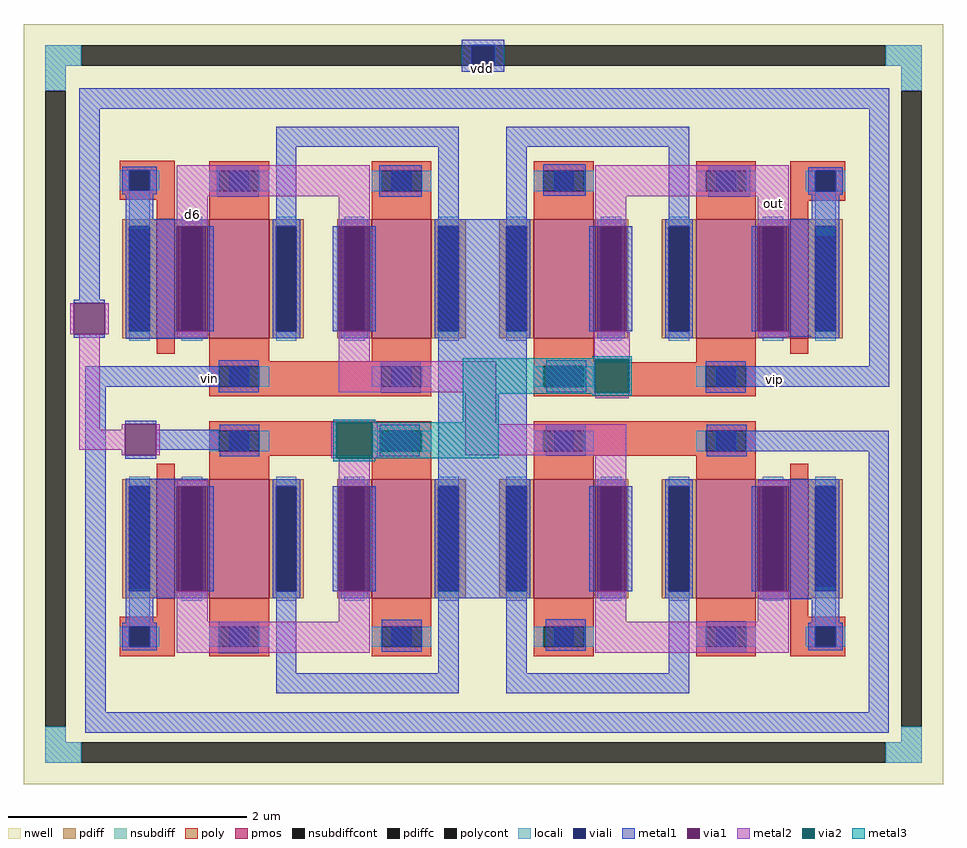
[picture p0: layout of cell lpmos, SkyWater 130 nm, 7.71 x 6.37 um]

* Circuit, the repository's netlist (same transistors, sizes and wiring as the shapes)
* NGSPICE file created from lpmos.ext - technology: sky130A

.subckt sky130_fd_pr__pfet_01v8_V8A8AU a_n86_n318# a_n86_118# a_358_n415# a_300_n318#
+ a_n244_n318# a_n458_n415# a_86_21# w_n552_n418# a_28_n318# a_n358_n318# a_n458_21#
+ a_186_n318# a_300_118# a_n516_n318# a_358_21# a_n186_21# a_28_118# a_458_n318# a_86_n415#
+ a_n186_n415# a_n244_118# a_n516_118# w_n552_18# a_n358_118# a_458_118# a_186_118#
X0 a_458_118# a_358_21# a_300_118# w_n552_18# sky130_fd_pr__pfet_01v8 ad=0.29 pd=2.58 as=0.29 ps=2.58 w=1 l=0.5
X1 a_186_118# a_86_21# a_28_118# w_n552_18# sky130_fd_pr__pfet_01v8 ad=0.29 pd=2.58 as=0.29 ps=2.58 w=1 l=0.5
X2 a_n358_n318# a_n458_n415# a_n516_n318# w_n552_n418# sky130_fd_pr__pfet_01v8 ad=0.29 pd=2.58 as=0.29 ps=2.58 w=1 l=0.5
X3 a_n86_118# a_n186_21# a_n244_118# w_n552_18# sky130_fd_pr__pfet_01v8 ad=0.29 pd=2.58 as=0.29 ps=2.58 w=1 l=0.5
X4 a_458_n318# a_358_n415# a_300_n318# w_n552_n418# sky130_fd_pr__pfet_01v8 ad=0.29 pd=2.58 as=0.29 ps=2.58 w=1 l=0.5
X5 a_186_n318# a_86_n415# a_28_n318# w_n552_n418# sky130_fd_pr__pfet_01v8 ad=0.29 pd=2.58 as=0.29 ps=2.58 w=1 l=0.5
X6 a_n358_118# a_n458_21# a_n516_118# w_n552_18# sky130_fd_pr__pfet_01v8 ad=0.29 pd=2.58 as=0.29 ps=2.58 w=1 l=0.5
X7 a_n86_n318# a_n186_n415# a_n244_n318# w_n552_n418# sky130_fd_pr__pfet_01v8 ad=0.29 pd=2.58 as=0.29 ps=2.58 w=1 l=0.5
.ends

.subckt sky130_fd_pr__pfet_01v8_2XUZHN a_n73_n100# w_n109_n162# a_15_n100# a_n15_n126#
X0 a_15_n100# a_n15_n126# a_n73_n100# w_n109_n162# sky130_fd_pr__pfet_01v8 ad=0.29 pd=2.58 as=0.29 ps=2.58 w=1 l=0.15
.ends

.subckt lpmos d6 vin vip out vdd
Xsky130_fd_pr__pfet_01v8_V8A8AU_0 m1_1936_n33# m1_1936_n33# vin m1_1936_n33# out vip
+ vip vdd m1_1936_n33# m1_1936_n33# vin d6 m1_1936_n33# out vip vin m1_1936_n33# d6
+ vin vip d6 d6 vdd m1_1936_n33# out out sky130_fd_pr__pfet_01v8_V8A8AU
Xsky130_fd_pr__pfet_01v8_2XUZHN_1 out vdd out out sky130_fd_pr__pfet_01v8_2XUZHN
Xsky130_fd_pr__pfet_01v8_2XUZHN_5 d6 vdd d6 d6 sky130_fd_pr__pfet_01v8_2XUZHN
Xsky130_fd_pr__pfet_01v8_2XUZHN_6 out vdd out out sky130_fd_pr__pfet_01v8_2XUZHN
Xsky130_fd_pr__pfet_01v8_2XUZHN_7 d6 vdd d6 d6 sky130_fd_pr__pfet_01v8_2XUZHN
.ends

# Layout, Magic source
magic
tech sky130A
magscale 1 2
<< nwell >>
rect 1513 -185 3054 1089
<< nsubdiff >>
rect 1549 1019 1609 1053
rect 2958 1019 3018 1053
rect 1549 977 1583 1019
rect 2984 977 3018 1019
rect 1549 -115 1583 -89
rect 2984 -115 3018 -89
rect 1549 -149 1609 -115
rect 2958 -149 3018 -115
<< nsubdiffcont >>
rect 1609 1019 2958 1053
rect 1549 -89 1583 977
rect 2984 -89 3018 977
rect 1609 -149 2958 -115
<< poly >>
rect 1674 844 1766 860
rect 1674 810 1690 844
rect 1724 810 1766 844
rect 1674 794 1766 810
rect 1736 785 1766 794
rect 2798 843 2890 859
rect 2798 809 2840 843
rect 2874 809 2890 843
rect 2798 793 2890 809
rect 2798 784 2828 793
rect 1924 465 2096 524
rect 2468 465 2640 522
rect 1924 365 2096 423
rect 2468 365 2640 423
rect 1736 95 1766 104
rect 1674 79 1766 95
rect 1674 45 1690 79
rect 1724 45 1766 79
rect 1674 29 1766 45
rect 2798 95 2828 104
rect 2798 79 2890 95
rect 2798 45 2840 79
rect 2874 45 2890 79
rect 2798 29 2890 45
<< polycont >>
rect 1690 810 1724 844
rect 2840 809 2874 843
rect 1690 45 1724 79
rect 2840 45 2874 79
<< locali >>
rect 1549 1019 1609 1053
rect 2958 1019 3018 1053
rect 1549 977 1583 1019
rect 2984 977 3018 1019
rect 1674 810 1690 844
rect 1724 810 1740 844
rect 1690 746 1724 810
rect 2824 809 2840 843
rect 2874 809 2890 843
rect 2840 734 2874 809
rect 1690 79 1724 141
rect 2840 79 2874 145
rect 1674 45 1690 79
rect 1724 45 1740 79
rect 2824 45 2840 79
rect 2874 45 2890 79
rect 1549 -115 1583 -89
rect 2984 -115 3018 -89
rect 1549 -149 1609 -115
rect 2958 -149 3018 -115
<< viali >>
rect 2264 1019 2302 1053
rect 1690 810 1724 844
rect 2840 809 2874 843
rect 1690 45 1724 79
rect 2840 45 2874 79
<< metal1 >>
rect 2247 1053 2318 1063
rect 2247 1019 2264 1053
rect 2302 1019 2318 1053
rect 2247 1009 2318 1019
rect 1606 947 2964 981
rect 1606 627 1640 947
rect 1936 883 2242 917
rect 1678 844 1736 850
rect 1678 810 1690 844
rect 1724 810 1736 844
rect 1678 804 1736 810
rect 1684 762 1730 804
rect 1836 799 1907 852
rect 1684 750 1821 762
rect 1936 759 1970 883
rect 2109 799 2180 852
rect 2208 762 2242 883
rect 2322 883 2628 917
rect 2322 762 2356 883
rect 2384 801 2455 854
rect 1597 621 1649 627
rect 1597 563 1649 569
rect 1684 574 1769 750
rect 1821 574 1831 750
rect 2031 574 2041 750
rect 2093 574 2103 750
rect 1684 561 1821 574
rect 1840 515 1907 525
rect 1616 481 1907 515
rect 1616 -65 1650 481
rect 1840 472 1907 481
rect 2111 471 2178 524
rect 1683 418 1735 424
rect 1841 409 1908 417
rect 1735 375 1908 409
rect 1683 360 1735 366
rect 1841 364 1908 375
rect 2110 364 2177 417
rect 1684 314 1821 327
rect 1684 138 1769 314
rect 1821 138 1831 314
rect 2031 138 2041 314
rect 2093 138 2103 314
rect 1684 126 1821 138
rect 1684 85 1730 126
rect 1678 79 1736 85
rect 1678 45 1690 79
rect 1724 45 1736 79
rect 1678 39 1736 45
rect 1840 34 1907 87
rect 1936 1 1970 130
rect 2208 126 2356 762
rect 2594 752 2628 883
rect 2660 799 2731 852
rect 2828 843 2886 849
rect 2828 809 2840 843
rect 2874 809 2886 843
rect 2828 803 2886 809
rect 2834 762 2880 803
rect 2743 750 2880 762
rect 2461 574 2471 750
rect 2523 574 2533 750
rect 2733 574 2743 750
rect 2795 574 2880 750
rect 2743 565 2880 574
rect 2389 472 2456 525
rect 2656 515 2723 524
rect 2930 515 2964 947
rect 2656 481 2964 515
rect 2656 471 2723 481
rect 2388 365 2455 418
rect 2658 407 2725 417
rect 2658 373 2963 407
rect 2658 364 2725 373
rect 2743 314 2880 326
rect 2461 138 2471 314
rect 2523 138 2533 314
rect 2733 138 2743 314
rect 2795 138 2880 314
rect 2113 37 2180 90
rect 2208 1 2242 126
rect 1936 -33 2242 1
rect 2322 1 2356 126
rect 2388 38 2455 91
rect 2594 1 2628 132
rect 2743 125 2880 138
rect 2657 35 2724 88
rect 2834 85 2880 125
rect 2828 79 2886 85
rect 2828 45 2840 79
rect 2874 45 2886 79
rect 2828 39 2886 45
rect 2322 -33 2628 1
rect 2929 -65 2963 373
rect 1616 -99 2963 -65
<< via1 >>
rect 1597 569 1649 621
rect 1769 574 1821 750
rect 2041 574 2093 750
rect 1683 366 1735 418
rect 1769 138 1821 314
rect 2041 138 2093 314
rect 2471 574 2523 750
rect 2743 574 2795 750
rect 2471 138 2523 314
rect 2743 138 2795 314
<< metal2 >>
rect 1769 800 2093 852
rect 1769 750 1821 800
rect 1591 569 1597 621
rect 1649 569 1655 621
rect 1606 409 1640 569
rect 1769 564 1821 574
rect 2041 750 2093 800
rect 2041 524 2093 574
rect 2471 800 2795 852
rect 2471 750 2523 800
rect 2471 572 2523 574
rect 2743 750 2795 800
rect 2469 527 2529 572
rect 2743 564 2795 574
rect 2041 472 2305 524
rect 1677 409 1683 418
rect 1606 375 1683 409
rect 1677 366 1683 375
rect 1735 366 1741 418
rect 2028 361 2037 421
rect 2097 361 2106 421
rect 2253 418 2305 472
rect 2469 471 2471 527
rect 2527 471 2529 527
rect 2469 469 2529 471
rect 2471 462 2527 469
rect 2253 366 2523 418
rect 1769 314 1821 324
rect 1769 87 1821 138
rect 2041 314 2093 361
rect 2041 87 2093 138
rect 1769 35 2093 87
rect 2471 314 2523 366
rect 2471 87 2523 138
rect 2743 314 2795 324
rect 2743 87 2795 138
rect 2471 35 2795 87
<< via2 >>
rect 2037 361 2097 421
rect 2471 471 2527 527
<< metal3 >>
rect 2466 529 2532 532
rect 2249 527 2532 529
rect 2249 471 2471 527
rect 2527 471 2532 527
rect 2249 469 2532 471
rect 2032 421 2102 426
rect 2249 421 2309 469
rect 2466 466 2532 469
rect 2032 361 2037 421
rect 2097 361 2309 421
rect 2032 356 2102 361
use sky130_fd_pr__pfet_01v8_2XUZHN  sky130_fd_pr__pfet_01v8_2XUZHN_1
transform 1 0 1751 0 1 226
box -109 -162 109 162
use sky130_fd_pr__pfet_01v8_2XUZHN  sky130_fd_pr__pfet_01v8_2XUZHN_5
transform 1 0 1751 0 1 662
box -109 -162 109 162
use sky130_fd_pr__pfet_01v8_2XUZHN  sky130_fd_pr__pfet_01v8_2XUZHN_6
transform 1 0 2813 0 1 662
box -109 -162 109 162
use sky130_fd_pr__pfet_01v8_2XUZHN  sky130_fd_pr__pfet_01v8_2XUZHN_7
transform 1 0 2813 0 1 226
box -109 -162 109 162
use sky130_fd_pr__pfet_01v8_V8A8AU  sky130_fd_pr__pfet_01v8_V8A8AU_0
transform 1 0 2282 0 1 444
box -552 -418 552 418
<< labels >>
flabel metal2 1795 770 1795 770 0 FreeSans 1280 0 0 0 d6
port 0 nsew
flabel metal1 1824 495 1824 495 0 FreeSans 1280 0 0 0 vin
port 1 nsew
flabel metal1 2771 493 2771 493 0 FreeSans 1280 0 0 0 vip
port 2 nsew
flabel metal2 2769 788 2769 788 0 FreeSans 1280 0 0 0 out
port 3 nsew
flabel metal1 2281 1015 2281 1015 0 FreeSans 1280 0 0 0 vdd
port 4 nsew
<< end >>

# cell sky130_fd_pr__pfet_01v8_2XUZHN: kit device sky130_fd_pr__pfet_01v8, w 1 l 0.15 m 1 nf 1 diffcov 100 polycov 100 guard 0 glc 1 grc 1 gtc 1 gbc 1 tbcov 100 rlcov 100 topc 0 botc 0 poverlap 0 doverlap 1 lmin 0.15 wmin 0.42 compatible {sky130_fd_pr__pfet_01v8 sky130_fd_pr__pfet_01v8_lvt sky130_fd_pr__pfet_01v8_hvt sky130_fd_pr__pfet_g5v0d10v5} full_metal 1 viasrc 100 viadrn 100 viagate 100 viagb 0 viagr 0 viagl 0 viagt 0

# cell sky130_fd_pr__pfet_01v8_V8A8AU: kit device sky130_fd_pr__pfet_01v8, w 1 l 0.5 m 2 nf 4 diffcov 100 polycov 100 guard 0 glc 1 grc 1 gtc 1 gbc 1 tbcov 100 rlcov 100 topc 1 botc 1 poverlap 0 doverlap 0 lmin 0.15 wmin 0.42 compatible {sky130_fd_pr__pfet_01v8 sky130_fd_pr__pfet_01v8_lvt sky130_fd_pr__pfet_01v8_hvt sky130_fd_pr__pfet_g5v0d10v5} full_metal 1 viasrc 100 viadrn 100 viagate 50 viagb 0 viagr 0 viagl 0 viagt 0
